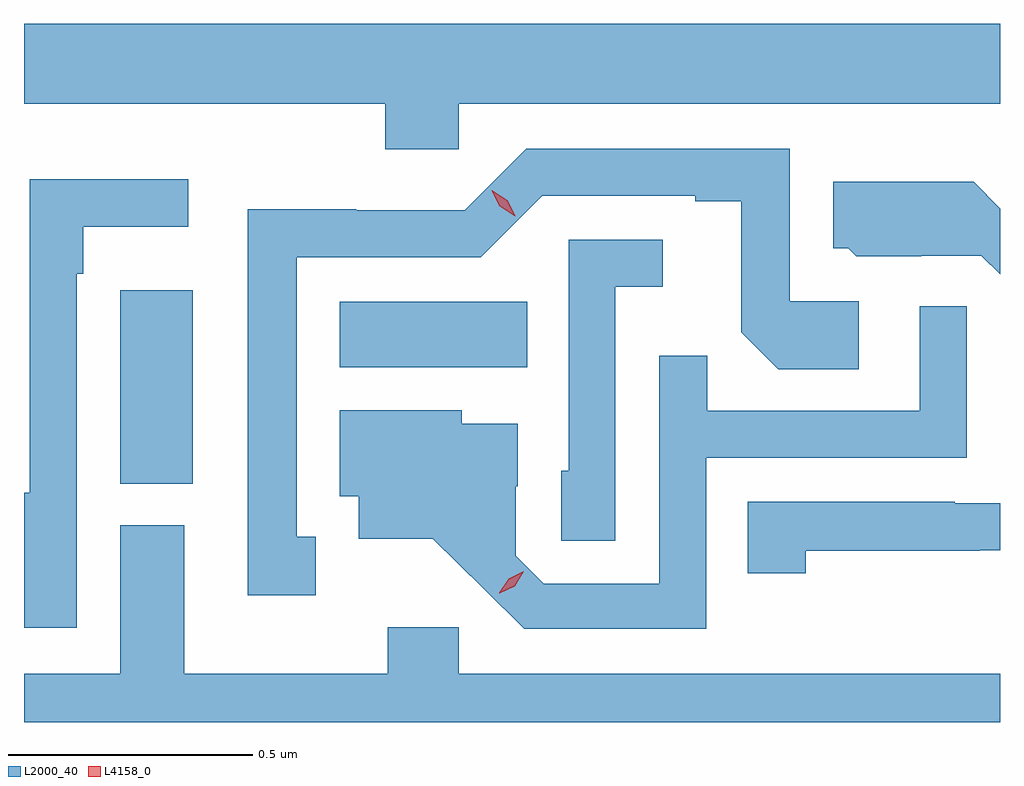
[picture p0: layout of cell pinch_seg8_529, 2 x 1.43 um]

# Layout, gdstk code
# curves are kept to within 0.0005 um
import gdstk
lib = gdstk.Library(unit=1e-6, precision=1e-09)
def R(c, l, rs):  # rectangles x0, y0, x1, y1
    for r in rs: c.add(gdstk.rectangle(r[:2], r[2:], *l))
def P(c, l, *ps):  # polygons
    for p in ps: c.add(gdstk.Polygon(p, *l))
L2000_40 = (2000, 40)
L4158_0 = (4158, 0)

pinch_seg8_529 = lib.new_cell('pinch_seg8_529')
R(pinch_seg8_529, L2000_40, [(190.202,1103.734,190.351,1104.13), (190.652,1103.972,191.036,1104.106)])
P(pinch_seg8_529, L2000_40, [(190.896,1104.512),(192.005,1104.512),(192.005,1104.676),(190.005,1104.676),(190.005,1104.512),(190.745,1104.512),(190.745,1104.419),(190.896,1104.419)],
  [(190.603,1103.625),(190.564,1103.625),(190.564,1104.198),(190.941,1104.198),(191.067,1104.324),(191.381,1104.324),(191.381,1104.312),(191.475,1104.312),(191.475,1104.044),(191.551,1103.968),(191.716,1103.968),(191.716,1104.108),(191.574,1104.108),(191.574,1104.42),(191.034,1104.42),(190.908,1104.294),(190.686,1104.294),(190.686,1104.296),(190.463,1104.296),(190.463,1103.505),(190.603,1103.505)],
  [(190.113,1104.164),(190.126,1104.164),(190.126,1104.26),(190.342,1104.26),(190.342,1104.358),(190.017,1104.358),(190.017,1103.715),(190.005,1103.715),(190.005,1103.438),(190.113,1103.438)],
  [(192.005,1104.297),(191.951,1104.352),(191.663,1104.352),(191.663,1104.216),(191.694,1104.216),(191.71,1104.2),(191.844,1104.2),(191.844,1104.201),(191.967,1104.201),(192.005,1104.163)],
  [(191.217,1104.137),(191.314,1104.137),(191.314,1104.234),(191.121,1104.234),(191.121,1103.76),(191.106,1103.76),(191.106,1103.617),(191.217,1103.617)],
  [(191.403,1103.787),(191.937,1103.787),(191.937,1104.097),(191.841,1104.097),(191.841,1103.883),(191.405,1103.883),(191.405,1103.996),(191.307,1103.996),(191.307,1103.529),(191.07,1103.529),(191.013,1103.586),(191.013,1103.728),(191.017,1103.728),(191.017,1103.857),(190.902,1103.857),(190.902,1103.884),(190.652,1103.884),(190.652,1103.708),(190.691,1103.708),(190.691,1103.621),(190.843,1103.621),(191.03,1103.436),(191.403,1103.436)],
  [(191.607,1103.596),(191.963,1103.596),(191.963,1103.597),(192.005,1103.597),(192.005,1103.694),(191.912,1103.694),(191.912,1103.697),(191.488,1103.697),(191.488,1103.55),(191.607,1103.55)],
  [(192.005,1103.344),(190.896,1103.344),(190.896,1103.44),(190.75,1103.44),(190.75,1103.344),(190.333,1103.344),(190.333,1103.649),(190.202,1103.649),(190.202,1103.344),(190.005,1103.344),(190.005,1103.245),(192.005,1103.245)])
P(pinch_seg8_529, L4158_0, [(190.979,1103.509),(190.979,1103.51),(190.998,1103.539),(191.029,1103.554),(191.029,1103.554),(191.029,1103.554),(191.011,1103.524),(190.98,1103.509)],
  [(191.012,1104.282),(190.98,1104.302),(190.963,1104.334),(190.963,1104.335),(190.963,1104.335),(190.995,1104.315),(191.012,1104.283),(191.012,1104.282)])

lib.write_gds('pinch_seg8_529.gds')
